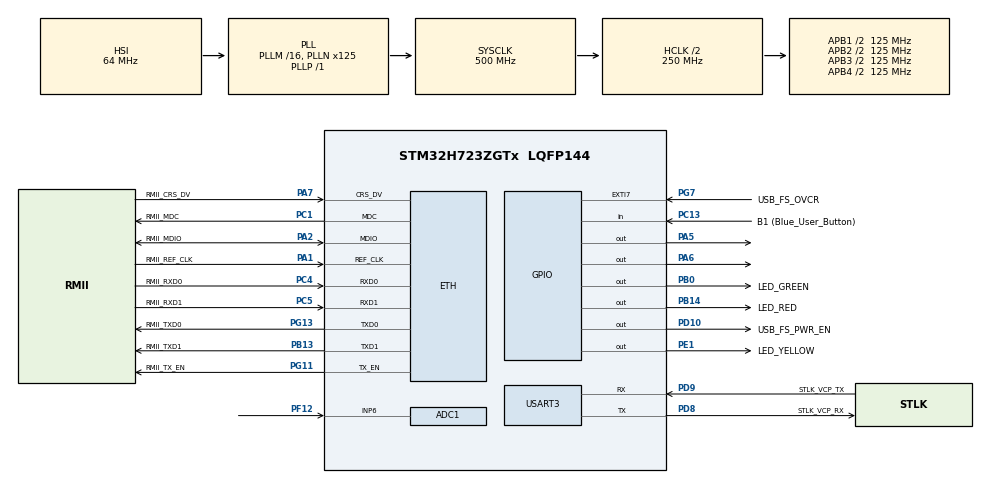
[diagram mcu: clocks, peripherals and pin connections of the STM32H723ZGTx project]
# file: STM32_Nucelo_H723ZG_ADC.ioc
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ADC1.Channel-4\#ChannelRegularConversion=ADC_CHANNEL_6
ADC1.ClockPrescaler=ADC_CLOCK_ASYNC_DIV256
ADC1.NbrOfConversionFlag=1
ADC1.OffsetNumber-4\#ChannelRegularConversion=ADC_OFFSET_NONE
ADC1.OffsetSignedSaturation-4\#ChannelRegularConversion=DISABLE
ADC1.Rank-4\#ChannelRegularConversion=1
ADC1.Resolution=ADC_RESOLUTION_12B
ADC1.SamplingTime-4\#ChannelRegularConversion=ADC_SAMPLETIME_64CYCLES_5
ADC1.master=1
CORTEX_M7.AccessPermission_S-Cortex_Memory_Protection_Unit_Region1_Settings_S=MPU_REGION_FULL_ACCESS
CORTEX_M7.AccessPermission_S-Cortex_Memory_Protection_Unit_Region2_Settings_S=MPU_REGION_FULL_ACCESS
CORTEX_M7.BaseAddress_S-Cortex_Memory_Protection_Unit_Region1_Settings_S=0x30000000
CORTEX_M7.BaseAddress_S-Cortex_Memory_Protection_Unit_Region2_Settings_S=0x30000000
CORTEX_M7.CPU_DCache=Enabled
CORTEX_M7.CPU_ICache=Enabled
CORTEX_M7.DisableExec_S-Cortex_Memory_Protection_Unit_Region1_Settings_S=MPU_INSTRUCTION_ACCESS_DISABLE
CORTEX_M7.DisableExec_S-Cortex_Memory_Protection_Unit_Region2_Settings_S=MPU_INSTRUCTION_ACCESS_DISABLE
CORTEX_M7.Enable_S-Cortex_Memory_Protection_Unit_Region1_Settings_S=MPU_REGION_ENABLE
CORTEX_M7.Enable_S-Cortex_Memory_Protection_Unit_Region2_Settings_S=MPU_REGION_ENABLE
CORTEX_M7.IsBufferable_S-Cortex_Memory_Protection_Unit_Region2_Settings_S=MPU_ACCESS_BUFFERABLE
CORTEX_M7.IsShareable_S-Cortex_Memory_Protection_Unit_Region2_Settings_S=MPU_ACCESS_SHAREABLE
CORTEX_M7.Size_S-Cortex_Memory_Protection_Unit_Region1_Settings_S=MPU_REGION_SIZE_32KB
CORTEX_M7.Size_S-Cortex_Memory_Protection_Unit_Region2_Settings_S=MPU_REGION_SIZE_512B
CORTEX_M7.TypeExtField_S-Cortex_Memory_Protection_Unit_Region1_Settings_S=MPU_TEX_LEVEL1
CORTEX_M7.default_mode_Activation=1
ETH.MediaInterface=HAL_ETH_RMII_MODE
ETH.RxBuffAddress=0x30000200
ETH.RxBuffLen=1536
ETH.TxDescAddress=0x30000100
FREERTOS.Tasks01=eth_tx,24,512,start_eth,Default,NULL,Dynamic,NULL,NULL;tx_dac,8,512,start_dac_tx,Default,NULL,Dynamic,NULL,NULL;rx_adc,8,512,start_adc_rx,Default,NULL,Dynamic,NULL,NULL
FREERTOS.configCHECK_FOR_STACK_OVERFLOW=1
FREERTOS.configMINIMAL_STACK_SIZE=512
FREERTOS.configTOTAL_HEAP_SIZE=30*1024
FREERTOS.configUSE_NEWLIB_REENTRANT=1
LWIP.BSP.number=1
LWIP.DEFAULT_THREAD_STACKSIZE=2048
LWIP.IP_ADDRESS=192.168.000.111
LWIP.LWIP_DHCP=0
LWIP.LWIP_RAM_HEAP_POINTER=0x30000200
LWIP.MEM_SIZE=32232
LWIP.NETMASK_ADDRESS=255.255.255.000
LWIP.TCPIP_THREAD_STACKSIZE=2048
LWIP.TCP_MSS=1460
LWIP.TCP_SND_BUF=5840
LWIP.TCP_SND_QUEUELEN=16
LWIP.Version=v2.1.2_Cube
LWIP0.BSP.STBoard=false
LWIP0.BSP.api=BSP_COMPONENT_DRIVER
LWIP0.BSP.component=LAN8742
LWIP0.BSP.instance=LAN8742
LWIP0.BSP.name=Driver_PHY
LWIP0.BSP.semaphore=S_LAN8742
LWIP0.BSP.solution=LAN8742
Mcu.Family=STM32H7
Mcu.Name=STM32H723ZGTx
Mcu.Package=LQFP144
NVIC.ETH_IRQn=true\:5\:0\:false\:false\:true\:true\:true\:true\:true
NVIC.PriorityGroup=NVIC_PRIORITYGROUP_4
NVIC.TIM6_DAC_IRQn=true\:5\:0\:false\:false\:true\:false\:false\:true\:true
NVIC.TimeBase=TIM6_DAC_IRQn
NVIC.TimeBaseIP=TIM6
PA1.GPIO_Label=RMII_REF_CLK
PA1.GPIO_Speed=GPIO_SPEED_FREQ_VERY_HIGH
PA1.Mode=RMII
PA1.Signal=ETH_REF_CLK
PA10.GPIO_Label=USB_FS_ID
PA10.Signal=USB_OTG_HS_ID
PA13(JTMS/SWDIO).GPIO_Label=SWDIO
PA13(JTMS/SWDIO).Signal=DEBUG_JTMS-SWDIO
PA14(JTCK/SWCLK).GPIO_Label=SWCLK
PA14(JTCK/SWCLK).Signal=DEBUG_JTCK-SWCLK
PA2.GPIO_Label=RMII_MDIO
PA2.GPIO_Speed=GPIO_SPEED_FREQ_VERY_HIGH
PA2.Mode=RMII
PA2.Signal=ETH_MDIO
PA5.Signal=GPIO_Output
PA6.Signal=GPIO_Output
PA7.GPIO_Label=RMII_CRS_DV
PA7.GPIO_Speed=GPIO_SPEED_FREQ_VERY_HIGH
PA7.Mode=RMII
PA7.Signal=ETH_CRS_DV
PA9.GPIO_Label=USB_FS_VBUS
PA9.Signal=USB_OTG_HS_VBUS
PB0.GPIO_Label=LED_GREEN
PB0.Signal=GPIO_Output
PB13.GPIO_Label=RMII_TXD1
PB13.GPIO_Speed=GPIO_SPEED_FREQ_VERY_HIGH
PB13.Mode=RMII
PB13.Signal=ETH_TXD1
PB14.GPIO_Label=LED_RED
PB14.Signal=GPIO_Output
PB3(JTDO/TRACESWO).GPIO_Label=SWO
PB3(JTDO/TRACESWO).Signal=DEBUG_JTDO-SWO
PC1.GPIO_Label=RMII_MDC
PC1.GPIO_Speed=GPIO_SPEED_FREQ_VERY_HIGH
PC1.Mode=RMII
PC1.Signal=ETH_MDC
PC13.GPIO_Label=B1 (Blue_User_Button)
PC13.Signal=GPIO_Input
PC14-OSC32_IN.Signal=RCC_OSC32_IN
PC15-OSC32_OUT.Signal=RCC_OSC32_OUT
PC4.GPIO_Label=RMII_RXD0
PC4.GPIO_Speed=GPIO_SPEED_FREQ_VERY_HIGH
PC4.Mode=RMII
PC4.Signal=ETH_RXD0
PC5.GPIO_Label=RMII_RXD1
PC5.GPIO_Speed=GPIO_SPEED_FREQ_VERY_HIGH
PC5.Mode=RMII
PC5.Signal=ETH_RXD1
PD10.GPIO_Label=USB_FS_PWR_EN
PD10.Signal=GPIO_Output
PD8.GPIO_Label=STLK_VCP_RX
PD8.Mode=Asynchronous
PD8.Signal=USART3_TX
PD9.GPIO_Label=STLK_VCP_TX
PD9.Mode=Asynchronous
PD9.Signal=USART3_RX
PE1.GPIO_Label=LED_YELLOW
PE1.Signal=GPIO_Output
PF12.Mode=IN6-Single-Ended
PF12.Signal=ADC1_INP6
PG11.GPIO_Label=RMII_TX_EN
PG11.GPIO_Speed=GPIO_SPEED_FREQ_VERY_HIGH
PG11.Mode=RMII
PG11.Signal=ETH_TX_EN
PG13.GPIO_Label=RMII_TXD0
PG13.GPIO_Speed=GPIO_SPEED_FREQ_VERY_HIGH
PG13.Mode=RMII
PG13.Signal=ETH_TXD0
PG7.GPIO_Label=USB_FS_OVCR
PG7.Signal=GPXTI7
PH0-OSC_IN.GPIO_Label=MCO
PH0-OSC_IN.Signal=RCC_OSC_IN
PH1-OSC_OUT.Signal=RCC_OSC_OUT
ProjectManager.HeapSize=0x200
ProjectManager.StackSize=0x400
ProjectManager.TargetToolchain=STM32CubeIDE
RCC.ADCFreq_Value=608000000
RCC.APB1Freq_Value=125000000
RCC.APB2Freq_Value=125000000
RCC.APB3Freq_Value=125000000
RCC.APB4Freq_Value=125000000
RCC.CortexFreq_Value=500000000
RCC.D1PPRE=RCC_APB3_DIV2
RCC.D2PPRE1=RCC_APB1_DIV2
RCC.D2PPRE2=RCC_APB2_DIV2
RCC.D3PPRE=RCC_APB4_DIV2
RCC.DIVM1=16
RCC.DIVM2=1
RCC.DIVN1=125
RCC.DIVN2=19
RCC.DIVP1=1
RCC.DIVQ1=4
RCC.HCLKFreq_Value=250000000
RCC.HPRE=RCC_HCLK_DIV2
RCC.HSE_VALUE=8000000
RCC.PLLFRACN=0
RCC.SYSCLKFreq_VALUE=500000000
RCC.SYSCLKSource=RCC_SYSCLKSOURCE_PLLCLK
RCC.USBCLockSelection=RCC_USBCLKSOURCE_HSI48
RCC.USBFreq_Value=48000000
USART3.VirtualMode-Asynchronous=VM_ASYNC
VP_FREERTOS_VS_CMSIS_V2.Mode=CMSIS_V2
VP_LWIP_VS_Enabled.Mode=Enabled
VP_SYS_VS_tim6.Mode=TIM6
board=NUCLEO-H723ZG

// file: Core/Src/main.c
/* USER CODE BEGIN Header */
/**
  ******************************************************************************
  * @file           : main.c
  * @brief          : Main program body
  ******************************************************************************
  * @attention
  *
  * Copyright (c) 2022 STMicroelectronics.
  * All rights reserved.
  *
  * This software is licensed under terms that can be found in the LICENSE file
  * in the root directory of this software component.
  * If no LICENSE file comes with this software, it is provided AS-IS.
  *
  ******************************************************************************
  */
/* USER CODE END Header */
#include "main.h"
#include "cmsis_os.h"
#include "lwip.h"

/* USER CODE BEGIN Includes */
/* ETH_CODE: add lwiperf, see comment in StartDefaultTask function */
#include "lwip/apps/lwiperf.h"
#include <string.h>
#include <stdio.h>
/* USER CODE END Includes */

ADC_HandleTypeDef hadc1;

UART_HandleTypeDef huart3;

/* Definitions for eth_tx */
osThreadId_t eth_txHandle;
const osThreadAttr_t eth_tx_attributes = {
  .name = "eth_tx",
  .stack_size = 512 * 4,
  .priority = (osPriority_t) osPriorityNormal,
};
/* Definitions for tx_dac */
osThreadId_t tx_dacHandle;
const osThreadAttr_t tx_dac_attributes = {
  .name = "tx_dac",
  .stack_size = 512 * 4,
  .priority = (osPriority_t) osPriorityLow,
};
/* Definitions for rx_adc */
osThreadId_t rx_adcHandle;
const osThreadAttr_t rx_adc_attributes = {
  .name = "rx_adc",
  .stack_size = 512 * 4,
  .priority = (osPriority_t) osPriorityLow,
};

void SystemClock_Config(void);
static void MPU_Initialize(void);
static void MPU_Config(void);
static void MX_GPIO_Init(void);
static void MX_ADC1_Init(void);
static void MX_USART3_UART_Init(void);
void start_eth(void *argument);
void start_dac_tx(void *argument);
void start_adc_rx(void *argument);

int main(void)
{

  /* Enable I-Cache---------------------------------------------------------*/
  SCB_EnableICache();

  /* Enable D-Cache---------------------------------------------------------*/
  SCB_EnableDCache();

  /* MCU Configuration--------------------------------------------------------*/

  /* Reset of all peripherals, Initializes the Flash interface and the Systick. */
  HAL_Init();

  /* MPU Configuration--------------------------------------------------------*/
  MPU_Config();

  /* Configure the system clock */
  SystemClock_Config();

  /* Initialize all configured peripherals */
  MX_GPIO_Init();
  MX_ADC1_Init();
  MX_USART3_UART_Init();

  /* Init scheduler */
  osKernelInitialize();

  /* Create the thread(s) */
  /* creation of eth_tx */
  eth_txHandle = osThreadNew(start_eth, NULL, &eth_tx_attributes);

  /* creation of tx_dac */
  tx_dacHandle = osThreadNew(start_dac_tx, NULL, &tx_dac_attributes);

  /* creation of rx_adc */
  rx_adcHandle = osThreadNew(start_adc_rx, NULL, &rx_adc_attributes);

  /* Start scheduler */
  osKernelStart();

  /* We should never get here as control is now taken by the scheduler */
  /* Infinite loop */
  while (1)
  {

  }
}

void SystemClock_Config(void)
{
  RCC_OscInitTypeDef RCC_OscInitStruct = {0};
  RCC_ClkInitTypeDef RCC_ClkInitStruct = {0};

  /** Supply configuration update enable
  */
  HAL_PWREx_ConfigSupply(PWR_LDO_SUPPLY);

  /** Configure the main internal regulator output voltage
  */
  __HAL_PWR_VOLTAGESCALING_CONFIG(PWR_REGULATOR_VOLTAGE_SCALE0);

  while(!__HAL_PWR_GET_FLAG(PWR_FLAG_VOSRDY)) {}

  /** Initializes the RCC Oscillators according to the specified parameters
  * in the RCC_OscInitTypeDef structure.
  */
  RCC_OscInitStruct.OscillatorType = RCC_OSCILLATORTYPE_HSI;
  RCC_OscInitStruct.HSIState = RCC_HSI_DIV1;
  RCC_OscInitStruct.HSICalibrationValue = 64;
  RCC_OscInitStruct.PLL.PLLState = RCC_PLL_ON;
  RCC_OscInitStruct.PLL.PLLSource = RCC_PLLSOURCE_HSI;
  RCC_OscInitStruct.PLL.PLLM = 16;
  RCC_OscInitStruct.PLL.PLLN = 125;
  RCC_OscInitStruct.PLL.PLLP = 1;
  RCC_OscInitStruct.PLL.PLLQ = 4;
  RCC_OscInitStruct.PLL.PLLR = 2;
  RCC_OscInitStruct.PLL.PLLRGE = RCC_PLL1VCIRANGE_2;
  RCC_OscInitStruct.PLL.PLLVCOSEL = RCC_PLL1VCOWIDE;
  RCC_OscInitStruct.PLL.PLLFRACN = 0;
  if (HAL_RCC_OscConfig(&RCC_OscInitStruct) != HAL_OK)
  {
    Error_Handler();
  }

  /** Initializes the CPU, AHB and APB buses clocks
  */
  RCC_ClkInitStruct.ClockType = RCC_CLOCKTYPE_HCLK|RCC_CLOCKTYPE_SYSCLK
                              |RCC_CLOCKTYPE_PCLK1|RCC_CLOCKTYPE_PCLK2
                              |RCC_CLOCKTYPE_D3PCLK1|RCC_CLOCKTYPE_D1PCLK1;
  RCC_ClkInitStruct.SYSCLKSource = RCC_SYSCLKSOURCE_PLLCLK;
  RCC_ClkInitStruct.SYSCLKDivider = RCC_SYSCLK_DIV1;
  RCC_ClkInitStruct.AHBCLKDivider = RCC_HCLK_DIV2;
  RCC_ClkInitStruct.APB3CLKDivider = RCC_APB3_DIV2;
  RCC_ClkInitStruct.APB1CLKDivider = RCC_APB1_DIV2;
  RCC_ClkInitStruct.APB2CLKDivider = RCC_APB2_DIV2;
  RCC_ClkInitStruct.APB4CLKDivider = RCC_APB4_DIV2;

  if (HAL_RCC_ClockConfig(&RCC_ClkInitStruct, FLASH_LATENCY_3) != HAL_OK)
  {
    Error_Handler();
  }
}

static void MX_ADC1_Init(void)
{

  ADC_MultiModeTypeDef multimode = {0};
  ADC_ChannelConfTypeDef sConfig = {0};

  /** Common config
  */
  hadc1.Instance = ADC1;
  hadc1.Init.ClockPrescaler = ADC_CLOCK_ASYNC_DIV256;
  hadc1.Init.Resolution = ADC_RESOLUTION_12B;
  hadc1.Init.ScanConvMode = ADC_SCAN_DISABLE;
  hadc1.Init.EOCSelection = ADC_EOC_SINGLE_CONV;
  hadc1.Init.LowPowerAutoWait = DISABLE;
  hadc1.Init.ContinuousConvMode = DISABLE;
  hadc1.Init.NbrOfConversion = 1;
  hadc1.Init.DiscontinuousConvMode = DISABLE;
  hadc1.Init.ExternalTrigConv = ADC_SOFTWARE_START;
  hadc1.Init.ExternalTrigConvEdge = ADC_EXTERNALTRIGCONVEDGE_NONE;
  hadc1.Init.ConversionDataManagement = ADC_CONVERSIONDATA_DR;
  hadc1.Init.Overrun = ADC_OVR_DATA_PRESERVED;
  hadc1.Init.LeftBitShift = ADC_LEFTBITSHIFT_NONE;
  hadc1.Init.OversamplingMode = DISABLE;
  if (HAL_ADC_Init(&hadc1) != HAL_OK)
  {
    Error_Handler();
  }

  /** Configure the ADC multi-mode
  */
  multimode.Mode = ADC_MODE_INDEPENDENT;
  if (HAL_ADCEx_MultiModeConfigChannel(&hadc1, &multimode) != HAL_OK)
  {
    Error_Handler();
  }

  /** Configure Regular Channel
  */
  sConfig.Channel = ADC_CHANNEL_6;
  sConfig.Rank = ADC_REGULAR_RANK_1;
  sConfig.SamplingTime = ADC_SAMPLETIME_64CYCLES_5;
  sConfig.SingleDiff = ADC_SINGLE_ENDED;
  sConfig.OffsetNumber = ADC_OFFSET_NONE;
  sConfig.Offset = 0;
  sConfig.OffsetSignedSaturation = DISABLE;
  if (HAL_ADC_ConfigChannel(&hadc1, &sConfig) != HAL_OK)
  {
    Error_Handler();
  }

}

static void MX_USART3_UART_Init(void)
{

  huart3.Instance = USART3;
  huart3.Init.BaudRate = 115200;
  huart3.Init.WordLength = UART_WORDLENGTH_8B;
  huart3.Init.StopBits = UART_STOPBITS_1;
  huart3.Init.Parity = UART_PARITY_NONE;
  huart3.Init.Mode = UART_MODE_TX_RX;
  huart3.Init.HwFlowCtl = UART_HWCONTROL_NONE;
  huart3.Init.OverSampling = UART_OVERSAMPLING_16;
  huart3.Init.OneBitSampling = UART_ONE_BIT_SAMPLE_DISABLE;
  huart3.Init.ClockPrescaler = UART_PRESCALER_DIV1;
  huart3.AdvancedInit.AdvFeatureInit = UART_ADVFEATURE_NO_INIT;
  if (HAL_UART_Init(&huart3) != HAL_OK)
  {
    Error_Handler();
  }
  if (HAL_UARTEx_SetTxFifoThreshold(&huart3, UART_TXFIFO_THRESHOLD_1_8) != HAL_OK)
  {
    Error_Handler();
  }
  if (HAL_UARTEx_SetRxFifoThreshold(&huart3, UART_RXFIFO_THRESHOLD_1_8) != HAL_OK)
  {
    Error_Handler();
  }
  if (HAL_UARTEx_DisableFifoMode(&huart3) != HAL_OK)
  {
    Error_Handler();
  }

}

static void MX_GPIO_Init(void)
{
  GPIO_InitTypeDef GPIO_InitStruct = {0};

  /* GPIO Ports Clock Enable */
  __HAL_RCC_GPIOC_CLK_ENABLE();
  __HAL_RCC_GPIOH_CLK_ENABLE();
  __HAL_RCC_GPIOA_CLK_ENABLE();
  __HAL_RCC_GPIOB_CLK_ENABLE();
  __HAL_RCC_GPIOF_CLK_ENABLE();
  __HAL_RCC_GPIOD_CLK_ENABLE();
  __HAL_RCC_GPIOG_CLK_ENABLE();
  __HAL_RCC_GPIOE_CLK_ENABLE();

  /*Configure GPIO pin Output Level */
  HAL_GPIO_WritePin(GPIOA, GPIO_PIN_5|GPIO_PIN_6, GPIO_PIN_RESET);

  /*Configure GPIO pin Output Level */
  HAL_GPIO_WritePin(GPIOB, LED_GREEN_Pin|LED_RED_Pin, GPIO_PIN_RESET);

  /*Configure GPIO pin Output Level */
  HAL_GPIO_WritePin(USB_FS_PWR_EN_GPIO_Port, USB_FS_PWR_EN_Pin, GPIO_PIN_RESET);

  /*Configure GPIO pin Output Level */
  HAL_GPIO_WritePin(LED_YELLOW_GPIO_Port, LED_YELLOW_Pin, GPIO_PIN_RESET);

  /*Configure GPIO pin : B1_Pin */
  GPIO_InitStruct.Pin = B1_Pin;
  GPIO_InitStruct.Mode = GPIO_MODE_INPUT;
  GPIO_InitStruct.Pull = GPIO_NOPULL;
  HAL_GPIO_Init(B1_GPIO_Port, &GPIO_InitStruct);

  /*Configure GPIO pins : PA5 PA6 */
  GPIO_InitStruct.Pin = GPIO_PIN_5|GPIO_PIN_6;
  GPIO_InitStruct.Mode = GPIO_MODE_OUTPUT_PP;
  GPIO_InitStruct.Pull = GPIO_NOPULL;
  GPIO_InitStruct.Speed = GPIO_SPEED_FREQ_LOW;
  HAL_GPIO_Init(GPIOA, &GPIO_InitStruct);

  /*Configure GPIO pins : LED_GREEN_Pin LED_RED_Pin */
  GPIO_InitStruct.Pin = LED_GREEN_Pin|LED_RED_Pin;
  GPIO_InitStruct.Mode = GPIO_MODE_OUTPUT_PP;
  GPIO_InitStruct.Pull = GPIO_NOPULL;
  GPIO_InitStruct.Speed = GPIO_SPEED_FREQ_LOW;
  HAL_GPIO_Init(GPIOB, &GPIO_InitStruct);

  /*Configure GPIO pin : USB_FS_PWR_EN_Pin */
  GPIO_InitStruct.Pin = USB_FS_PWR_EN_Pin;
  GPIO_InitStruct.Mode = GPIO_MODE_OUTPUT_PP;
  GPIO_InitStruct.Pull = GPIO_NOPULL;
  GPIO_InitStruct.Speed = GPIO_SPEED_FREQ_LOW;
  HAL_GPIO_Init(USB_FS_PWR_EN_GPIO_Port, &GPIO_InitStruct);

  /*Configure GPIO pin : USB_FS_OVCR_Pin */
  GPIO_InitStruct.Pin = USB_FS_OVCR_Pin;
  GPIO_InitStruct.Mode = GPIO_MODE_IT_RISING;
  GPIO_InitStruct.Pull = GPIO_NOPULL;
  HAL_GPIO_Init(USB_FS_OVCR_GPIO_Port, &GPIO_InitStruct);

  /*Configure GPIO pin : USB_FS_ID_Pin */
  GPIO_InitStruct.Pin = USB_FS_ID_Pin;
  GPIO_InitStruct.Mode = GPIO_MODE_AF_PP;
  GPIO_InitStruct.Pull = GPIO_NOPULL;
  GPIO_InitStruct.Speed = GPIO_SPEED_FREQ_LOW;
  GPIO_InitStruct.Alternate = GPIO_AF10_OTG1_HS;
  HAL_GPIO_Init(USB_FS_ID_GPIO_Port, &GPIO_InitStruct);

  /*Configure GPIO pin : LED_YELLOW_Pin */
  GPIO_InitStruct.Pin = LED_YELLOW_Pin;
  GPIO_InitStruct.Mode = GPIO_MODE_OUTPUT_PP;
  GPIO_InitStruct.Pull = GPIO_NOPULL;
  GPIO_InitStruct.Speed = GPIO_SPEED_FREQ_LOW;
  HAL_GPIO_Init(LED_YELLOW_GPIO_Port, &GPIO_InitStruct);

}

void start_eth(void *argument)
{
  /* init code for LWIP */
  MX_LWIP_Init();
  /* USER CODE BEGIN 5 */
  /* ETH_CODE: Adding lwiperf to measure TCP/IP performance.
     * iperf 2.0.6 (or older?) is required for the tests. Newer iperf2 versions
     * might work without data check, but they send different headers.
     * iperf3 is not compatible at all.
     * Adding lwiperf.c file to the project is necessary.
     * The default include path should already contain
     * 'lwip/apps/lwiperf.h'
     */
  	LOCK_TCPIP_CORE();
    lwiperf_start_tcp_server_default(NULL, NULL);

    ip4_addr_t remote_addr;
    IP4_ADDR(&remote_addr, 192, 168, 1, 1);
    lwiperf_start_tcp_client_default(&remote_addr, NULL, NULL);
    UNLOCK_TCPIP_CORE();
    /* Infinite loop */
    for(;;)
    {
      osDelay(1000);
      HAL_GPIO_TogglePin(GPIOE, GPIO_PIN_1); //LED to show task running successfully
    }
  /* USER CODE END 5 */
}

void start_dac_tx(void *argument)
{
  /* USER CODE BEGIN start_dac_tx */
  /* Infinite loop */
  for(;;)
  {
      HAL_GPIO_TogglePin(GPIOA, GPIO_PIN_6); //"DAC" Pin
	  HAL_GPIO_TogglePin(GPIOB, GPIO_PIN_14); //LED
      osDelay(1000);
      //this would be DAC code but it doesn't fuckin work so I'm just using digital gpio
  }
  /* USER CODE END start_dac_tx */
}

void start_adc_rx(void *argument)
{
  /* USER CODE BEGIN start_adc_rx */
  uint16_t value_adc;
  char msg[10];
  /* Infinite loop */
  for(;;)
  {
	// Read ADC
	HAL_ADC_Start(&hadc1);
    HAL_ADC_PollForConversion(&hadc1, 1000);
    value_adc = HAL_ADC_GetValue(&hadc1);

    // Output to UART
    // Ignore that I am transmitting in a function called "adc_rx"
    // This should send data over to the ethernet task and then that sends it over TCP but idk how to do that yet
    sprintf(msg, "%hu\r\n", value_adc);
	HAL_UART_Transmit(&huart3, (uint8_t*)msg, strlen(msg), 1000);
    osDelay(200);
  }
  /* USER CODE END start_adc_rx */
}

/* MPU Configuration */

void MPU_Config(void)
{
  MPU_Region_InitTypeDef MPU_InitStruct = {0};

  /* Disables the MPU */
  HAL_MPU_Disable();

  /** Initializes and configures the Region and the memory to be protected
  */
  MPU_InitStruct.Enable = MPU_REGION_ENABLE;
  MPU_InitStruct.Number = MPU_REGION_NUMBER0;
  MPU_InitStruct.BaseAddress = 0x0;
  MPU_InitStruct.Size = MPU_REGION_SIZE_4GB;
  MPU_InitStruct.SubRegionDisable = 0x87;
  MPU_InitStruct.TypeExtField = MPU_TEX_LEVEL0;
  MPU_InitStruct.AccessPermission = MPU_REGION_NO_ACCESS;
  MPU_InitStruct.DisableExec = MPU_INSTRUCTION_ACCESS_DISABLE;
  MPU_InitStruct.IsShareable = MPU_ACCESS_SHAREABLE;
  MPU_InitStruct.IsCacheable = MPU_ACCESS_NOT_CACHEABLE;
  MPU_InitStruct.IsBufferable = MPU_ACCESS_NOT_BUFFERABLE;

  HAL_MPU_ConfigRegion(&MPU_InitStruct);

  /** Initializes and configures the Region and the memory to be protected
  */
  MPU_InitStruct.Number = MPU_REGION_NUMBER1;
  MPU_InitStruct.BaseAddress = 0x30000000;
  MPU_InitStruct.Size = MPU_REGION_SIZE_32KB;
  MPU_InitStruct.SubRegionDisable = 0x0;
  MPU_InitStruct.TypeExtField = MPU_TEX_LEVEL1;
  MPU_InitStruct.AccessPermission = MPU_REGION_FULL_ACCESS;
  MPU_InitStruct.IsShareable = MPU_ACCESS_NOT_SHAREABLE;

  HAL_MPU_ConfigRegion(&MPU_InitStruct);

  /** Initializes and configures the Region and the memory to be protected
  */
  MPU_InitStruct.Number = MPU_REGION_NUMBER2;
  MPU_InitStruct.Size = MPU_REGION_SIZE_512B;
  MPU_InitStruct.TypeExtField = MPU_TEX_LEVEL0;
  MPU_InitStruct.IsShareable = MPU_ACCESS_SHAREABLE;
  MPU_InitStruct.IsBufferable = MPU_ACCESS_BUFFERABLE;

  HAL_MPU_ConfigRegion(&MPU_InitStruct);
  /* Enables the MPU */
  HAL_MPU_Enable(MPU_PRIVILEGED_DEFAULT);

}

void HAL_TIM_PeriodElapsedCallback(TIM_HandleTypeDef *htim)
{
  if (htim->Instance == TIM6) {
    HAL_IncTick();
  }
}

void Error_Handler(void)
{
  __disable_irq();
  while (1)
  {
  }
}
